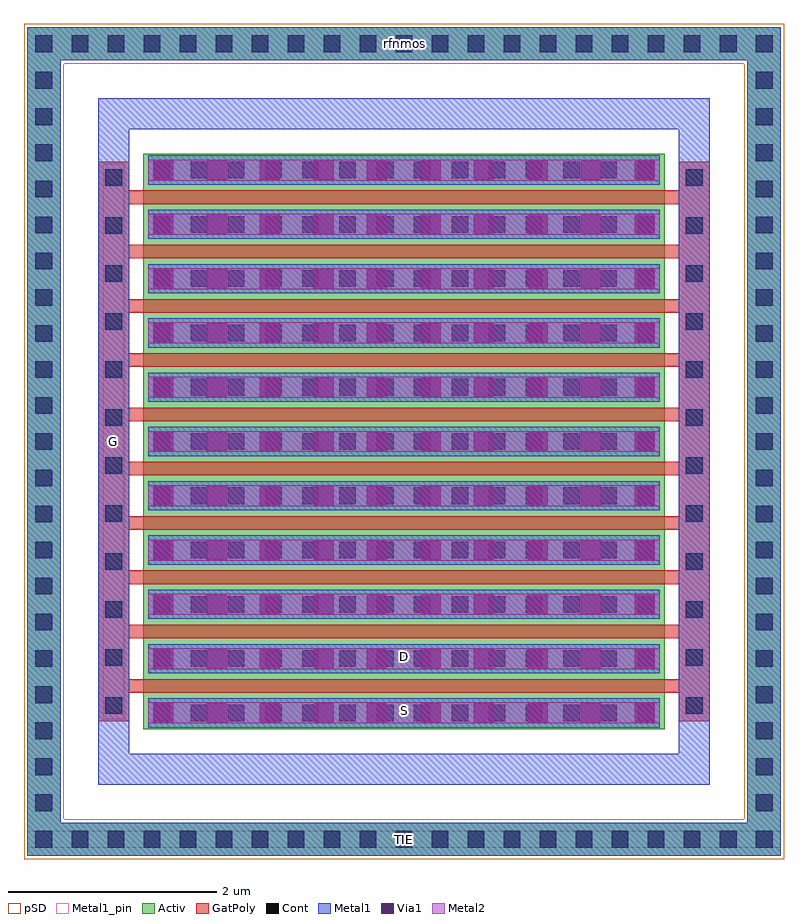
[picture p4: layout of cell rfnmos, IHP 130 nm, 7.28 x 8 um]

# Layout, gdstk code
import gdstk
lib = gdstk.Library(unit=1e-6, precision=5e-09)
def R(c, l, rs):  # rectangles x0, y0, x1, y1
    for r in rs: c.add(gdstk.rectangle(r[:2], r[2:], *l))
def A(c, l, x, y, w, h, nx, ny, dx, dy):  # array of equal rectangles
    R(c, l, [(x+i*dx, y+j*dy, x+i*dx+w, y+j*dy+h) for i in range(nx) for j in range(ny)])
def P(c, l, *ps):  # polygons
    for p in ps: c.add(gdstk.Polygon(p, *l))
Activ = (1, 0)
GatPoly = (5, 0)
Cont = (6, 0)
Metal1 = (8, 0)
Metal1_pin = (8, 2)
Metal2 = (10, 0)
pSD = (14, 0)
Via1 = (19, 0)

rfnmos = lib.new_cell('rfnmos')
R(rfnmos, Activ, [(1.14,1.245,6.14,6.755)])
P(rfnmos, Activ, [(0.03,0.03),(0.03,7.65),(0.35,7.65),(0.35,0.35),(6.93,0.35),(6.93,7.65),(0.03,7.65),(0.03,7.97),(7.25,7.97),(7.25,0.03)])
A(rfnmos, GatPoly, 1.01, 1.595, 5.26, 0.13, 1, 10, 0, 0.52)
R(rfnmos, GatPoly, [(0.71,1.32,1.01,6.68), (6.27,1.32,6.57,6.68)])
A(rfnmos, Cont, 0.11, 0.11, 0.16, 0.16, 21, 2, 0.345, 7.62)
A(rfnmos, Cont, 0.11, 0.46, 0.16, 0.16, 1, 5, 0, 0.345)
A(rfnmos, Cont, 7.01, 0.46, 0.16, 0.16, 1, 5, 0, 0.345)
A(rfnmos, Cont, 1.24, 1.32, 0.16, 0.16, 3, 11, 0.355, 0.52)
A(rfnmos, Cont, 2.31, 1.32, 0.16, 0.16, 3, 11, 0.355, 0.52)
A(rfnmos, Cont, 3.38, 1.32, 0.16, 0.16, 1, 11, 0, 0.52)
A(rfnmos, Cont, 3.735, 1.32, 0.16, 0.16, 1, 11, 0, 0.52)
A(rfnmos, Cont, 4.095, 1.32, 0.16, 0.16, 3, 11, 0.355, 0.52)
A(rfnmos, Cont, 5.165, 1.32, 0.16, 0.16, 1, 11, 0, 0.52)
A(rfnmos, Cont, 5.52, 1.32, 0.16, 0.16, 1, 11, 0, 0.52)
A(rfnmos, Cont, 5.88, 1.32, 0.16, 0.16, 1, 11, 0, 0.52)
A(rfnmos, Cont, 0.78, 1.39, 0.16, 0.16, 1, 12, 0, 0.46)
A(rfnmos, Cont, 6.34, 1.39, 0.16, 0.16, 1, 12, 0, 0.46)
A(rfnmos, Cont, 0.11, 2.19, 0.16, 0.16, 1, 5, 0, 0.345)
A(rfnmos, Cont, 7.01, 2.19, 0.16, 0.16, 1, 5, 0, 0.345)
A(rfnmos, Cont, 0.11, 3.92, 0.16, 0.16, 1, 5, 0, 0.345)
A(rfnmos, Cont, 7.01, 3.92, 0.16, 0.16, 1, 5, 0, 0.345)
A(rfnmos, Cont, 0.11, 5.65, 0.16, 0.16, 1, 5, 0, 0.345)
A(rfnmos, Cont, 7.01, 5.65, 0.16, 0.16, 1, 5, 0, 0.345)
R(rfnmos, Cont, [(0.11,7.38,0.27,7.54), (7.01,7.38,7.17,7.54)])
A(rfnmos, Metal1, 1.19, 1.26, 4.9, 0.28, 1, 11, 0, 0.52)
R(rfnmos, Metal1, [(0.03,0.03,7.25,0.35), (0.03,0.35,0.35,7.65), (6.93,0.35,7.25,7.65), (0.76,1.34,0.96,6.66), (6.32,1.34,6.52,6.66), (0.03,7.65,7.25,7.97)])
P(rfnmos, Metal1, [(0.71,0.71),(0.71,6.99),(1.01,6.99),(1.01,1.01),(6.27,1.01),(6.27,6.99),(0.71,6.99),(0.71,7.29),(6.57,7.29),(6.57,0.71)])
R(rfnmos, Metal1_pin, [(0.03,0.11,7.25,0.27), (0.03,0.11,7.25,0.27), (1.19,1.26,6.09,1.54), (1.19,1.26,6.09,1.54), (0.76,1.34,0.96,6.66), (0.76,1.34,0.96,6.66), (1.19,1.78,6.09,2.06), (1.19,1.78,6.09,2.06)])
A(rfnmos, Metal2, 1.19, 1.3, 4.9, 0.2, 1, 11, 0, 0.52)
P(rfnmos, pSD, [(0,0),(0,7.62),(0.38,7.62),(0.38,0.38),(6.9,0.38),(6.9,7.62),(0,7.62),(0,8),(7.28,8),(7.28,0)])
A(rfnmos, Via1, 1.24, 1.305, 0.19, 0.19, 3, 11, 0.51, 0.52)
A(rfnmos, Via1, 2.775, 1.305, 0.19, 0.19, 1, 11, 0, 0.52)
A(rfnmos, Via1, 3.285, 1.305, 0.19, 0.19, 1, 11, 0, 0.52)
A(rfnmos, Via1, 3.8, 1.305, 0.19, 0.19, 1, 11, 0, 0.52)
A(rfnmos, Via1, 4.31, 1.305, 0.19, 0.19, 1, 11, 0, 0.52)
A(rfnmos, Via1, 4.825, 1.305, 0.19, 0.19, 1, 11, 0, 0.52)
A(rfnmos, Via1, 5.335, 1.305, 0.19, 0.19, 1, 11, 0, 0.52)
A(rfnmos, Via1, 5.85, 1.305, 0.19, 0.19, 1, 11, 0, 0.52)
rfnmos.add(gdstk.Label('S', (3.64,1.42), layer=63, texttype=0))
rfnmos.add(gdstk.Label('D', (3.64,1.94), layer=63, texttype=0))
rfnmos.add(gdstk.Label('G', (0.86,4), layer=63, texttype=0))
rfnmos.add(gdstk.Label('TIE', (3.64,0.19), layer=63, texttype=0))
rfnmos.add(gdstk.Label('rfnmos', (3.64,7.81), layer=63, texttype=0))

lib.write_gds('rfnmos.gds')
